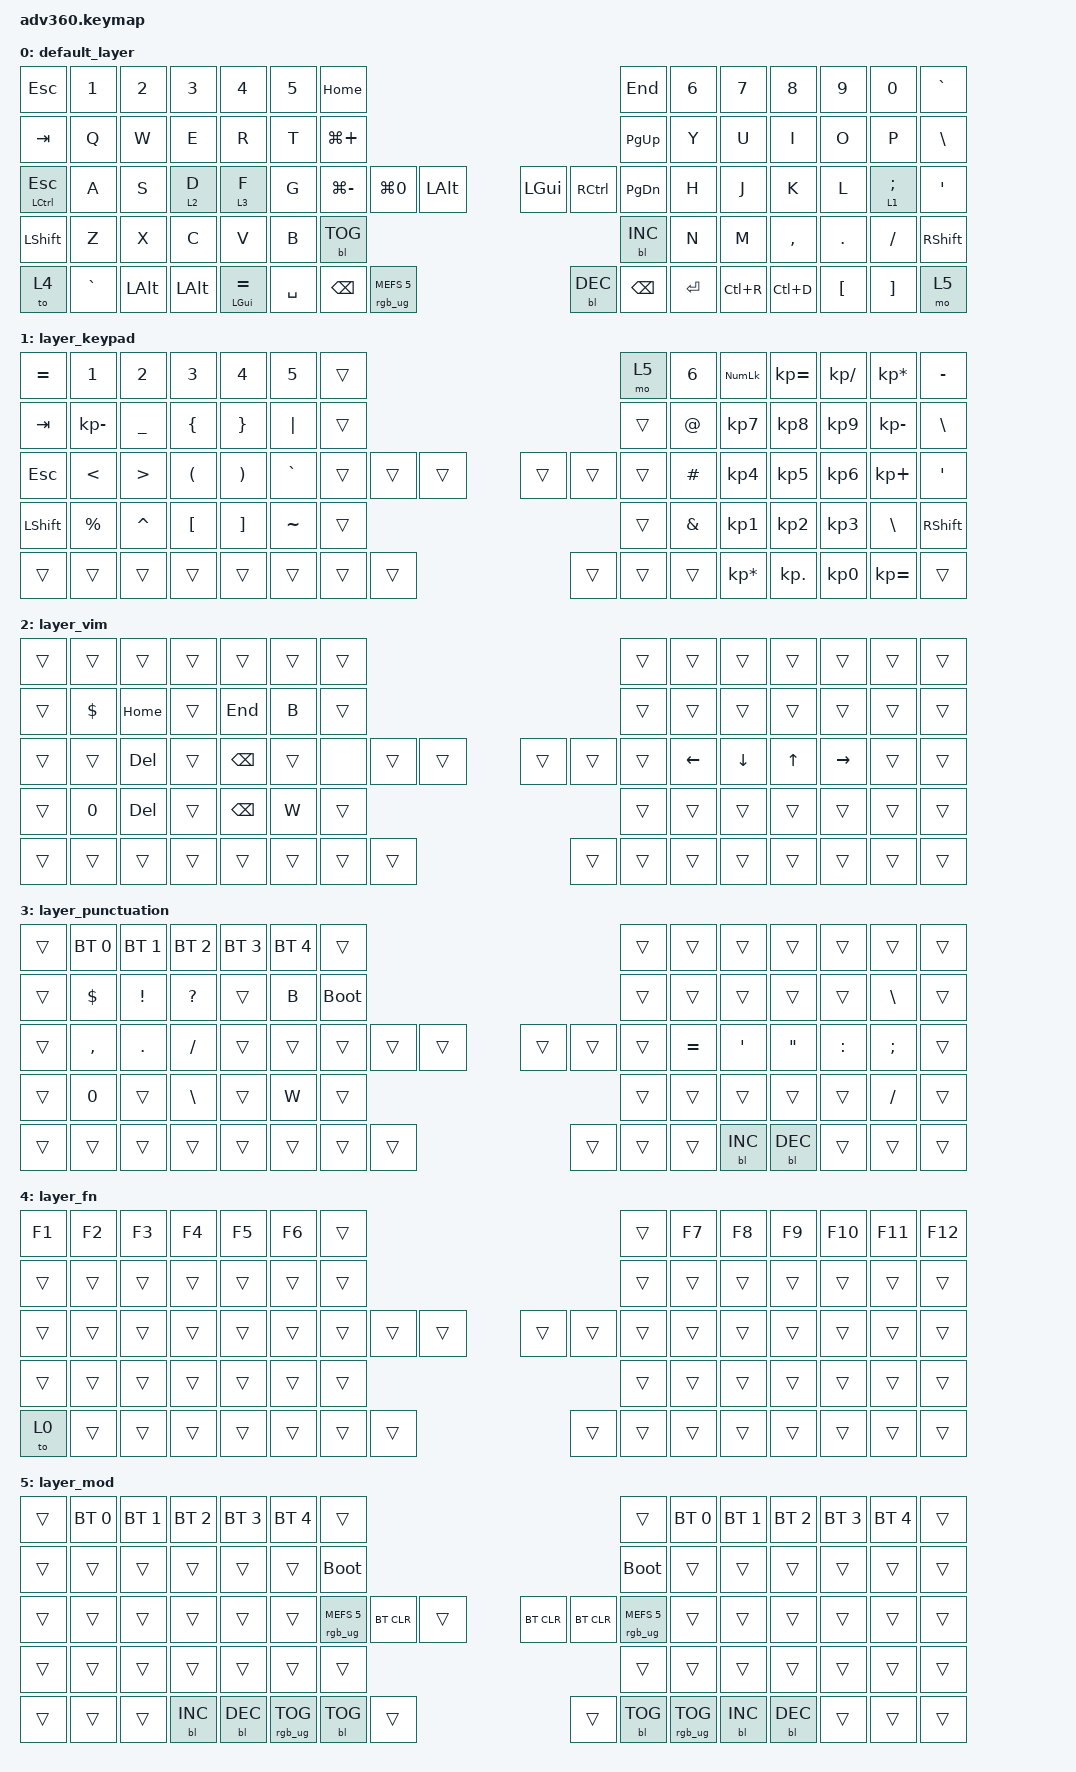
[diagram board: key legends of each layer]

/*
 * Copyright (c) 2020 The ZMK Contributors
 *
 * SPDX-License-Identifier: MIT
 */


/* THIS FILE WAS GENERATED!
 *
 * This file was generated automatically. You may or may not want to
 * edit it directly.
 */

#include <behaviors.dtsi>
#include <dt-bindings/zmk/keys.h>
#include <dt-bindings/zmk/backlight.h>
#include <dt-bindings/zmk/rgb.h>
#include <dt-bindings/zmk/bt.h>

/ {
  behaviors {
    #include "macros.dtsi"

    hm: homerow_mods {
        compatible = "zmk,behavior-hold-tap";
        label = "HOMEROW_MODS";
        #binding-cells = <2>;
        tapping-term-ms = <200>;
        quick_tap_ms = <175>;
        flavor = "tap-preferred";
        bindings = <&kp>, <&kp>;
    };
  };

    keymap {
        compatible = "zmk,keymap";


        default_layer {
            bindings = <
       &kp ESC     &kp N1    &kp N2    &kp N3          &kp N4  &kp N5                 &kp HOME                                                                                     &kp END  &kp N6     &kp N7     &kp N8    &kp N9           &kp N0  &kp GRAVE
       &kp TAB      &kp Q     &kp W     &kp E           &kp R   &kp T             &kp LG(PLUS)                                                                                   &kp PG_UP   &kp Y      &kp U      &kp I     &kp O            &kp P   &kp BSLH
 &mt LCTRL ESC      &kp A     &kp S   &lt 2 D         &lt 3 F   &kp G            &kp LG(MINUS)  &kp LG(NUMBER_0)                &kp LALT                    &kp LGUI  &kp RCTRL  &kp PG_DN   &kp H      &kp J      &kp K     &kp L  &lt 1 SEMICOLON    &kp SQT
     &kp LSHFT      &kp Z     &kp X     &kp C           &kp V   &kp B                                                         &bl BL_TOG                  &bl BL_INC                         &kp N      &kp M  &kp COMMA   &kp DOT         &kp FSLH  &kp RSHFT
         &to 4  &kp GRAVE  &kp LALT  &kp LALT  &mt LGUI EQUAL                        &kp SPACE     &kp BACKSPACE  &rgb_ug RGB_MEFS_CMD 5                  &bl BL_DEC   &kp BSPC  &kp ENTER          &kp LC(R)  &kp LC(D)  &kp LBKT         &kp RBKT      &mo 5
            >;
        };

        layer_keypad {
            bindings = <
 &kp EQUAL        &kp N1     &kp N2                &kp N3                 &kp N4     &kp N5            &trans                                                   &mo 5    &kp N6       &kp KP_NUM  &kp KP_EQUAL  &kp KP_DIVIDE  &kp KP_MULTIPLY  &kp MINUS
   &kp TAB  &kp KP_MINUS  &kp UNDER        &kp LEFT_BRACE        &kp RIGHT_BRACE   &kp PIPE            &trans                                                  &trans    &kp AT        &kp KP_N7     &kp KP_N8      &kp KP_N9     &kp KP_MINUS   &kp BSLH
   &kp ESC        &kp LT     &kp GT  &kp LEFT_PARENTHESIS  &kp RIGHT_PARENTHESIS  &kp GRAVE            &trans  &trans  &trans                  &trans  &trans  &trans  &kp HASH        &kp KP_N4     &kp KP_N5      &kp KP_N6      &kp KP_PLUS    &kp SQT
 &kp LSHFT     &kp PRCNT  &kp CARET      &kp LEFT_BRACKET      &kp RIGHT_BRACKET  &kp TILDE                            &trans                  &trans                  &kp AMPS        &kp KP_N1     &kp KP_N2      &kp KP_N3    &kp BACKSLASH  &kp RSHFT
    &trans        &trans     &trans                &trans                 &trans                       &trans  &trans  &trans                  &trans  &trans  &trans            &kp KP_MULTIPLY    &kp KP_DOT      &kp KP_N0     &kp KP_EQUAL     &trans
            >;
        };

        layer_vim {
            bindings = <
 &trans    &trans    &trans  &trans    &trans  &trans            &trans                                                  &trans    &trans    &trans  &trans     &trans  &trans  &trans
 &trans  &kp DLLR  &kp HOME  &trans   &kp END   &kp B            &trans                                                  &trans    &trans    &trans  &trans     &trans  &trans  &trans
 &trans    &trans   &kp DEL  &trans  &kp BSPC  &trans             &none  &trans  &trans                  &trans  &trans  &trans  &kp LEFT  &kp DOWN  &kp UP  &kp RIGHT  &trans  &trans
 &trans    &kp N0   &kp DEL  &trans  &kp BSPC   &kp W                            &trans                  &trans                    &trans    &trans  &trans     &trans  &trans  &trans
 &trans    &trans    &trans  &trans    &trans                    &trans  &trans  &trans                  &trans  &trans  &trans              &trans  &trans     &trans  &trans  &trans
            >;
        };

        layer_punctuation {
            bindings = <
 &trans  &bt BT_SEL 0  &bt BT_SEL 1   &bt BT_SEL 2  &bt BT_SEL 3  &bt BT_SEL 4                 &trans                                                  &trans     &trans            &trans             &trans     &trans         &trans  &trans
 &trans      &kp DLLR      &kp EXCL   &kp QUESTION        &trans         &kp B            &bootloader                                                  &trans     &trans            &trans             &trans     &trans  &kp BACKSLASH  &trans
 &trans     &kp COMMA       &kp DOT      &kp SLASH        &trans        &trans                 &trans  &trans  &trans                  &trans  &trans  &trans  &kp EQUAL  &kp SINGLE_QUOTE  &kp DOUBLE_QUOTES  &kp COLON  &kp SEMICOLON  &trans
 &trans        &kp N0        &trans  &kp BACKSLASH        &trans         &kp W                                 &trans                  &trans                     &trans            &trans             &trans     &trans      &kp SLASH  &trans
 &trans        &trans        &trans         &trans        &trans                               &trans  &trans  &trans                  &trans  &trans  &trans                   &bl BL_INC         &bl BL_DEC     &trans         &trans  &trans
            >;
        };

        layer_fn {
            bindings = <
 &kp F1  &kp F2  &kp F3  &kp F4  &kp F5  &kp F6            &trans                                                  &trans  &kp F7  &kp F8  &kp F9  &kp F10  &kp F11  &kp F12
 &trans  &trans  &trans  &trans  &trans  &trans            &trans                                                  &trans  &trans  &trans  &trans   &trans   &trans   &trans
 &trans  &trans  &trans  &trans  &trans  &trans            &trans  &trans  &trans                  &trans  &trans  &trans  &trans  &trans  &trans   &trans   &trans   &trans
 &trans  &trans  &trans  &trans  &trans  &trans                            &trans                  &trans                  &trans  &trans  &trans   &trans   &trans   &trans
  &to 0  &trans  &trans  &trans  &trans                    &trans  &trans  &trans                  &trans  &trans  &trans          &trans  &trans   &trans   &trans   &trans
            >;
        };

        layer_mod {
            bindings = <
 &trans  &bt BT_SEL 0  &bt BT_SEL 1  &bt BT_SEL 2  &bt BT_SEL 3  &bt BT_SEL 4                            &trans                                                                              &trans  &bt BT_SEL 0  &bt BT_SEL 1  &bt BT_SEL 2  &bt BT_SEL 3  &bt BT_SEL 4  &trans
 &trans        &trans        &trans        &trans        &trans        &trans                       &bootloader                                                                         &bootloader        &trans        &trans        &trans        &trans        &trans  &trans
 &trans        &trans        &trans        &trans        &trans        &trans            &rgb_ug RGB_MEFS_CMD 5  &bt BT_CLR  &trans                  &bt BT_CLR  &bt BT_CLR  &rgb_ug RGB_MEFS_CMD 5        &trans        &trans        &trans        &trans        &trans  &trans
 &trans        &trans        &trans        &trans        &trans        &trans                                                &trans                      &trans                                            &trans        &trans        &trans        &trans        &trans  &trans
 &trans        &trans        &trans    &bl BL_INC    &bl BL_DEC                                 &rgb_ug RGB_TOG  &bl BL_TOG  &trans                      &trans  &bl BL_TOG         &rgb_ug RGB_TOG                  &bl BL_INC    &bl BL_DEC        &trans        &trans  &trans
            >;
        };

    };
};
